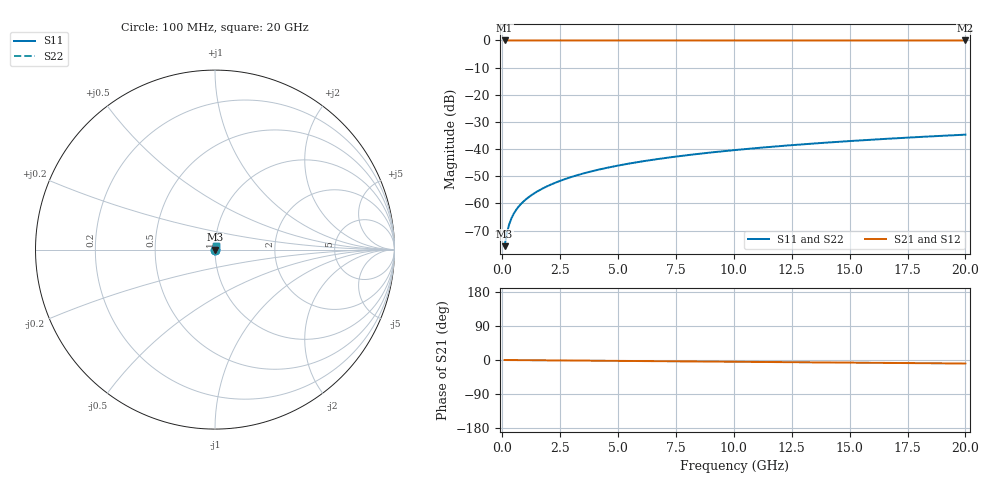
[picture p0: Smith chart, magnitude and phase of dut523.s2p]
! Touchstone file exported from HFSS 2026.1.0
!  File:  C:/ffzhzh/LocalFiles/Ansys_Project_Files/temp_train_TSV_523_1783023557_55676.aedt
!  Generated:  04:21:16 AM Jul  3, 2026
!  Design:  TSV
!  Project:  temp_train_TSV_523_1783023557_55676
! Variables:
!  h_bsmrdl = 2um
!  h_ox = 20um
!  h_rdl = 5um
!  h_sub = 89.59um
!  h_tmrdl = 5um
!  h_tsv = 89.59um
!  h_via = 3um
!  l_bsmrdl = 300um
!  l_sub = 426.44um
!  l_tmrdl = 200um
!  m_sub = 200um
!  pitch = 59.92um
!  r_tsv = 13.22um
!  s_tmrdl = 10um
!  w_bsmrdl = 18um
!  w_sub = 500um
!  w_tmrdl = 12um
!  x_tsv_center1 = 206um
!  x_tsv_center2 = 524um
!  x_tsv_center3 = 736um
!  x_tsv_center4 = 1054um
!  x_tsv_center5 = 1266um
!  x_tsv_center6 = 1584um
# GHz S MA R 50.000000
! Terminal data exported
! Port[1] = TSV1_1_T1
! Port[2] = TSV1_1_T2
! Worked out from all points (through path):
!   200 points, 100 MHz to 20 GHz, reference 50 ohm
!   highest |S21| = 0.00 dB at 100 MHz (marker M1); lowest = 0.0 dB at 20 GHz (marker M2)
!   group delay of S21, straight-line fit = 1.28 ps
!   lowest |S11| = -75.7 dB at 100 MHz (marker M3), VSWR 1.00, Z = 50 + j0.0136 ohm
!   |S11| at or under -10 dB: start of sweep to end of sweep
!   |S22| runs from -75.7 to -34.7 dB; largest |S21 - S12| = 2.1e-15
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0.1  0.0001632 56.7  0.9999 -0.0  0.9999 -0.0  0.0001632 56.7
! Gamma 0 0 0 0
! Port Impedance 50 0 50 0
0.2  0.0002884 68.9  0.9999 -0.1  0.9999 -0.1  0.0002884 68.9
0.3  0.0004148 72.6  0.9999 -0.1  0.9999 -0.1  0.0004148 72.6
0.4  0.0005363 73.9  0.9999 -0.2  0.9999 -0.2  0.0005363 73.9
0.5  0.0006519 74.5  0.9998 -0.2  0.9998 -0.2  0.0006519 74.5
0.6  0.0007621 74.9  0.9998 -0.3  0.9998 -0.3  0.0007621 74.9
0.7  0.0008679 75.2  0.9998 -0.3  0.9998 -0.3  0.0008679 75.2
0.9  0.00107 75.9  0.9997 -0.4  0.9997 -0.4  0.00107 75.9
1.1  0.001266 76.5  0.9997 -0.5  0.9997 -0.5  0.001266 76.5
1.3  0.001458 77.2  0.9997 -0.6  0.9997 -0.6  0.001458 77.2
1.6  0.001745 78.2  0.9997 -0.8  0.9997 -0.8  0.001745 78.2
1.9  0.002032 78.9  0.9996 -0.9  0.9996 -0.9  0.002032 78.9
2.6  0.002701 80.1  0.9996 -1.2  0.9996 -1.2  0.002701 80.1
3.5  0.003559 80.8  0.9995 -1.6  0.9995 -1.6  0.003559 80.8
4.2  0.004221 81.1  0.9995 -2.0  0.9995 -2.0  0.004221 81.1
5  0.004971 81.2  0.9994 -2.3  0.9994 -2.3  0.004971 81.2
6.8  0.006638 81.2  0.9993 -3.2  0.9993 -3.2  0.006638 81.2
8.3  0.008012 81.0  0.9992 -3.9  0.9992 -3.9  0.008012 81.0
10.1  0.009648 80.6  0.9992 -4.7  0.9992 -4.7  0.009648 80.6
13.4  0.01262 79.6  0.999 -6.2  0.999 -6.2  0.01262 79.6
16.7  0.01555 78.5  0.9989 -7.7  0.9989 -7.7  0.01555 78.5
20  0.01844 77.3  0.9987 -9.2  0.9987 -9.2  0.01844 77.3
